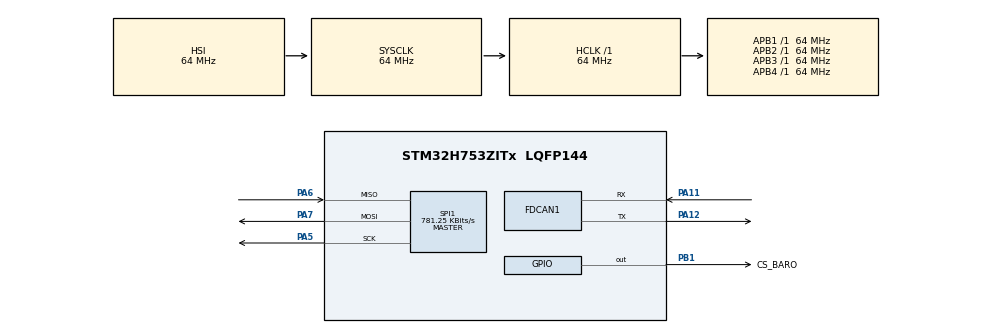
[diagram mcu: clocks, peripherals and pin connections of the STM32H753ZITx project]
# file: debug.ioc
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CORTEX_M7.CPU_DCache=Disabled
CORTEX_M7.CPU_ICache=Disabled
CORTEX_M7.MPU_Control=__NULL
CORTEX_M7.default_mode_Activation=1
FDCAN1.CalculateBaudRateNominal=195312
FDCAN1.CalculateTimeBitNominal=5120
FDCAN1.CalculateTimeQuantumNominal=320.0
FDCAN1.DataTimeSeg1=1
FDCAN1.DataTimeSeg2=1
FDCAN1.Mode=FDCAN_MODE_NORMAL
FDCAN1.NominalTimeSeg1=13
FDCAN1.NominalTimeSeg2=2
FDCAN1.RxFifo0ElmtsNbr=8
FDCAN1.StdFiltersNbr=1
FDCAN1.TxBuffersNbr=0
FDCAN1.TxFifoQueueElmtsNbr=8
FREERTOS.Tasks01=Task1,24,128,StartTask1,Default,NULL,Dynamic,NULL,NULL;Task2,8,128,StartTask2,Default,NULL,Dynamic,NULL,NULL;CanRxTask,8,128,StartCanRxTask,Default,NULL,Dynamic,NULL,NULL;CanTxTask,8,128,StartCanTxTask,Default,NULL,Dynamic,NULL,NULL
Mcu.Family=STM32H7
Mcu.Name=STM32H753ZITx
Mcu.Package=LQFP144
NUCLEO-H753ZI.BUTTON=1
NUCLEO-H753ZI.LD1=true
NUCLEO-H753ZI.LD2=true
NUCLEO-H753ZI.LD3=true
NUCLEO-H753ZI.VCP=true
NVIC.EXTI15_10_IRQn=true\:5\:0\:false\:false\:true\:true\:false\:true\:true
NVIC.PriorityGroup=NVIC_PRIORITYGROUP_4
NVIC.TIM6_DAC_IRQn=true\:15\:0\:false\:false\:true\:false\:false\:true\:true
NVIC.TimeBase=TIM6_DAC_IRQn
NVIC.TimeBaseIP=TIM6
PA11.Mode=FDCAN_Activate
PA11.Signal=FDCAN1_RX
PA12.Mode=FDCAN_Activate
PA12.Signal=FDCAN1_TX
PA13\ (JTMS/SWDIO).Mode=Trace_Asynchronous_SW
PA13\ (JTMS/SWDIO).Signal=DEBUG_JTMS-SWDIO
PA14\ (JTCK/SWCLK).Mode=Trace_Asynchronous_SW
PA14\ (JTCK/SWCLK).Signal=DEBUG_JTCK-SWCLK
PA5.Mode=Full_Duplex_Master
PA5.Signal=SPI1_SCK
PA6.Mode=Full_Duplex_Master
PA6.Signal=SPI1_MISO
PA7.Mode=Full_Duplex_Master
PA7.Signal=SPI1_MOSI
PB1.GPIO_Label=CS_BARO
PB1.GPIO_PuPd=GPIO_PULLUP
PB1.GPIO_Speed=GPIO_SPEED_FREQ_HIGH
PB1.PinState=GPIO_PIN_SET
PB1.Signal=GPIO_Output
PB3\ (JTDO/TRACESWO).Mode=Trace_Asynchronous_SW
PB3\ (JTDO/TRACESWO).Signal=DEBUG_JTDO-SWO
PC14-OSC32_IN\ (OSC32_IN).Signal=RCC_OSC32_IN
PC15-OSC32_OUT\ (OSC32_OUT).Signal=RCC_OSC32_OUT
PD8.Signal=USART3_TX
PD9.Signal=USART3_RX
PH0-OSC_IN\ (PH0).Signal=RCC_OSC_IN
PH1-OSC_OUT\ (PH1).Signal=RCC_OSC_OUT
ProjectManager.HeapSize=0x200
ProjectManager.StackSize=0x400
ProjectManager.TargetToolchain=STM32CubeIDE
RCC.ADCFreq_Value=129000000
RCC.APB1Freq_Value=64000000
RCC.APB2Freq_Value=64000000
RCC.APB3Freq_Value=64000000
RCC.APB4Freq_Value=64000000
RCC.CortexFreq_Value=64000000
RCC.DIVM1=4
RCC.DIVN1=9
RCC.DIVQ1=3
RCC.HCLKFreq_Value=64000000
RCC.HSE_VALUE=8000000
RCC.PLL2FRACN=0
RCC.PLL3FRACN=0
RCC.PLLFRACN=3072
RCC.SYSCLKFreq_VALUE=64000000
RCC.USBFreq_Value=50000000
SPI1.BaudRatePrescaler=SPI_BAUDRATEPRESCALER_64
SPI1.CalculateBaudRate=781.25 KBits/s
SPI1.DataSize=SPI_DATASIZE_8BIT
SPI1.Direction=SPI_DIRECTION_2LINES
SPI1.Mode=SPI_MODE_MASTER
SPI1.NSSPMode=SPI_NSS_PULSE_DISABLE
SPI1.VirtualType=VM_MASTER
VP_FREERTOS_VS_CMSIS_V2.Mode=CMSIS_V2
VP_MEMORYMAP_VS_MEMORYMAP.Mode=CurAppReg
VP_NUCLEO-H753ZI_VS_BSP_COMMON.Mode=COMMON
VP_SYS_VS_tim6.Mode=TIM6
board=NUCLEO-H753ZI

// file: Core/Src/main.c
/* USER CODE BEGIN Header */
/**
  ******************************************************************************
  * @file           : main.c
  * @brief          : Main program body
  ******************************************************************************
  * @attention
  *
  * Copyright (c) 2026 STMicroelectronics.
  * All rights reserved.
  *
  * This software is licensed under terms that can be found in the LICENSE file
  * in the root directory of this software component.
  * If no LICENSE file comes with this software, it is provided AS-IS.
  *
  ******************************************************************************
  */
/* USER CODE END Header */
#include "main.h"
#include "cmsis_os.h"

/* USER CODE BEGIN Includes */
#include <stdio.h>
#include <stdlib.h>
#include <string.h>
#include "MS5611_driver.h"

#ifndef CANRX_DEBUG
#define CANRX_DEBUG 1
#endif

#if CANRX_DEBUG
#define CANRX_LOG(fmt, ...)  printf("[CANRX] " fmt "\r\n", ##__VA_ARGS__)
#else
#define CANRX_LOG(...)       do {} while (0)
#endif
/* USER CODE END Includes */

/* USER CODE BEGIN PTD */
extern FDCAN_HandleTypeDef hfdcan1;

#define CANRX_FLAG_FIFO0_PENDING   (1UL << 0)
#define CANRX_MATCH_STD_ID         (0x103U)
#define CANRX_MATCH_B0             (50U)
#define CANRX_MATCH_B1             (0xAAU)
#define TEST_STD_ID                (0x123U)

extern osThreadId_t CanRxTaskHandle;
static FDCAN_RxHeaderTypeDef g_rxHeader;
static uint8_t g_rxData[8];
static volatile uint32_t g_validFrameCount = 0U;

static void CAN_RxAppInit(void)
{
    FDCAN_FilterTypeDef sFilter = {0};

    /* Accept all standard IDs into FIFO0 (mask=0 => don't care). */
    sFilter.IdType       = FDCAN_STANDARD_ID;
    sFilter.FilterIndex  = 0;
    sFilter.FilterType   = FDCAN_FILTER_MASK;
    sFilter.FilterConfig = FDCAN_FILTER_TO_RXFIFO0;
    sFilter.FilterID1    = 0x000;
    sFilter.FilterID2    = 0x000;

    if (HAL_FDCAN_ConfigFilter(&hfdcan1, &sFilter) != HAL_OK) {
        CANRX_LOG("ConfigFilter failed");
        Error_Handler();
    }

    /* Route non-matching std/ext IDs to FIFO0 too; reject remote frames. */
    if (HAL_FDCAN_ConfigGlobalFilter(&hfdcan1,
                                    FDCAN_ACCEPT_IN_RX_FIFO0, FDCAN_ACCEPT_IN_RX_FIFO0,
                                    FDCAN_REJECT_REMOTE, FDCAN_REJECT_REMOTE) != HAL_OK) {
        CANRX_LOG("GlobalFilter failed");
        Error_Handler();
    }

    /*
     * Enable notification before Start so the first received frame after Start
     * cannot be missed in the small timing window.
     */
    if (HAL_FDCAN_ActivateNotification(&hfdcan1,
                                       FDCAN_IT_RX_FIFO0_NEW_MESSAGE,
                                       0) != HAL_OK) {
        CANRX_LOG("ActivateNotification failed");
        Error_Handler();
    }

    if (HAL_FDCAN_Start(&hfdcan1) != HAL_OK) {
        CANRX_LOG("Start failed");
        Error_Handler();
    }

    CANRX_LOG("FDCAN1 started, FIFO0 IRQ enabled");
}

void HAL_FDCAN_RxFifo0Callback(FDCAN_HandleTypeDef *hfdcan, uint32_t RxFifo0ITs)
{
    if ((hfdcan->Instance == FDCAN1) &&
        ((RxFifo0ITs & FDCAN_IT_RX_FIFO0_NEW_MESSAGE) != 0U) &&
        (CanRxTaskHandle != NULL))
    {
        (void)osThreadFlagsSet(CanRxTaskHandle, CANRX_FLAG_FIFO0_PENDING);
    }
}
#define CAN_APP_ID     (0x123)

#define CAN_SOF        (0x01)  // start-of-frame
#define CAN_COF        (0x02)  // continuation
#define CAN_MAX_MSG    200     // max reassembled length (adjust)

typedef struct {
  uint8_t len;
  char    msg[CAN_MAX_MSG];
} CanAppMsg_t;

static osMessageQueueId_t canTxQueue;
extern CAN_HandleTypeDef hcan1;

#define CANRX_FLAG_FIFO0_PENDING   (1UL << 0)

static CAN_RxHeaderTypeDef g_rxHeader;
static uint8_t g_rxData[8];
static volatile uint32_t g_validFrameCount = 0;

osThreadId_t CanRxTaskHandle = NULL;

/* ===== CAN app init ===== */
static void CAN_RxAppInit(void)
{
  CAN_FilterTypeDef f = {0};

  f.FilterBank = 0;
  f.FilterMode = CAN_FILTERMODE_IDMASK;
  f.FilterScale = CAN_FILTERSCALE_32BIT;
  f.FilterIdHigh = 0x0000;
  f.FilterIdLow = 0x0000;
  f.FilterMaskIdHigh = 0x0000;
  f.FilterMaskIdLow = 0x0000;
  f.FilterFIFOAssignment = CAN_FILTER_FIFO0;
  f.FilterActivation = ENABLE;

#if defined(CAN2)
  f.SlaveStartFilterBank = 14;
#endif

  if (HAL_CAN_ConfigFilter(&hcan1, &f) != HAL_OK) Error_Handler();
  if (HAL_CAN_ActivateNotification(&hcan1, CAN_IT_RX_FIFO0_MSG_PENDING) != HAL_OK) Error_Handler();
  if (HAL_CAN_Start(&hcan1) != HAL_OK) Error_Handler();

  CANRX_LOG("CAN1 started, FIFO0 IRQ enabled");
}
/* USER CODE END PTD */

COM_InitTypeDef BspCOMInit;

FDCAN_HandleTypeDef hfdcan1;

SPI_HandleTypeDef hspi1;

/* Definitions for Task1 */
osThreadId_t Task1Handle;
const osThreadAttr_t Task1_attributes = {
  .name = "Task1",
  .stack_size = 128 * 4,
  .priority = (osPriority_t) osPriorityNormal,
};
/* Definitions for Task2 */
osThreadId_t Task2Handle;
const osThreadAttr_t Task2_attributes = {
  .name = "Task2",
  .stack_size = 128 * 4,
  .priority = (osPriority_t) osPriorityLow,
};
/* Definitions for CanRxTask */
osThreadId_t CanRxTaskHandle;
const osThreadAttr_t CanRxTask_attributes = {
  .name = "CanRxTask",
  .stack_size = 128 * 4,
  .priority = (osPriority_t) osPriorityLow,
};
/* Definitions for CanTxTask */
osThreadId_t CanTxTaskHandle;
const osThreadAttr_t CanTxTask_attributes = {
  .name = "CanTxTask",
  .stack_size = 128 * 4,
  .priority = (osPriority_t) osPriorityLow,
};

void SystemClock_Config(void);
static void MX_GPIO_Init(void);
static void MX_SPI1_Init(void);
static void MX_FDCAN1_Init(void);
void StartTask1(void *argument);
void StartTask2(void *argument);
void StartCanRxTask(void *argument);
void StartCanTxTask(void *argument);

/* USER CODE BEGIN PFP */
void MX_FREERTOS_Init(void);

/* USER CODE END PFP */

int main(void)
{

  /* MCU Configuration--------------------------------------------------------*/

  /* Reset of all peripherals, Initializes the Flash interface and the Systick. */
  HAL_Init();

  /* Configure the system clock */
  SystemClock_Config();

  /* Initialize all configured peripherals */
  MX_GPIO_Init();
  MX_SPI1_Init();
  MX_FDCAN1_Init();

  /* Init scheduler */
  osKernelInitialize();

  /* USER CODE BEGIN RTOS_MUTEX */
  /* add mutexes, ... */
  MX_FREERTOS_Init();
  /* USER CODE END RTOS_MUTEX */

  /* USER CODE BEGIN RTOS_QUEUES */
  /* add queues, ... */
  canTxQueue = osMessageQueueNew(4, sizeof(CanAppMsg_t), NULL);
  if (canTxQueue == NULL) {
    printf("[CAN] Failed to create canTxQueue\r\n");
    Error_Handler();
  }
  /* USER CODE END RTOS_QUEUES */

  /* Create the thread(s) */
  /* creation of Task1 */
  Task1Handle = osThreadNew(StartTask1, NULL, &Task1_attributes);

  /* creation of Task2 */
  Task2Handle = osThreadNew(StartTask2, NULL, &Task2_attributes);

  /* creation of CanRxTask */
  CanRxTaskHandle = osThreadNew(StartCanRxTask, NULL, &CanRxTask_attributes);

  /* creation of CanTxTask */
  CanTxTaskHandle = osThreadNew(StartCanTxTask, NULL, &CanTxTask_attributes);

  /* Initialize leds */
  BSP_LED_Init(LED_GREEN);
  BSP_LED_Init(LED_BLUE);
  BSP_LED_Init(LED_RED);

  /* Initialize USER push-button, will be used to trigger an interrupt each time it's pressed.*/
  BSP_PB_Init(BUTTON_USER, BUTTON_MODE_EXTI);

  /* Initialize COM1 port (115200, 8 bits (7-bit data + 1 stop bit), no parity */
  BspCOMInit.BaudRate   = 115200;
  BspCOMInit.WordLength = COM_WORDLENGTH_8B;
  BspCOMInit.StopBits   = COM_STOPBITS_1;
  BspCOMInit.Parity     = COM_PARITY_NONE;
  BspCOMInit.HwFlowCtl  = COM_HWCONTROL_NONE;
  if (BSP_COM_Init(COM1, &BspCOMInit) != BSP_ERROR_NONE)
  {
    Error_Handler();
  }

  /* Start scheduler */
  osKernelStart();

  /* We should never get here as control is now taken by the scheduler */

  /* Infinite loop */
  while (1)
  {

  }
}

void SystemClock_Config(void)
{
  RCC_OscInitTypeDef RCC_OscInitStruct = {0};
  RCC_ClkInitTypeDef RCC_ClkInitStruct = {0};

  /** Supply configuration update enable
  */
  HAL_PWREx_ConfigSupply(PWR_LDO_SUPPLY);

  /** Configure the main internal regulator output voltage
  */
  __HAL_PWR_VOLTAGESCALING_CONFIG(PWR_REGULATOR_VOLTAGE_SCALE3);

  while(!__HAL_PWR_GET_FLAG(PWR_FLAG_VOSRDY)) {}

  /** Initializes the RCC Oscillators according to the specified parameters
  * in the RCC_OscInitTypeDef structure.
  */
  RCC_OscInitStruct.OscillatorType = RCC_OSCILLATORTYPE_HSI;
  RCC_OscInitStruct.HSIState = RCC_HSI_DIV1;
  RCC_OscInitStruct.HSICalibrationValue = RCC_HSICALIBRATION_DEFAULT;
  RCC_OscInitStruct.PLL.PLLState = RCC_PLL_ON;
  RCC_OscInitStruct.PLL.PLLSource = RCC_PLLSOURCE_HSI;
  RCC_OscInitStruct.PLL.PLLM = 4;
  RCC_OscInitStruct.PLL.PLLN = 9;
  RCC_OscInitStruct.PLL.PLLP = 2;
  RCC_OscInitStruct.PLL.PLLQ = 3;
  RCC_OscInitStruct.PLL.PLLR = 2;
  RCC_OscInitStruct.PLL.PLLRGE = RCC_PLL1VCIRANGE_3;
  RCC_OscInitStruct.PLL.PLLVCOSEL = RCC_PLL1VCOMEDIUM;
  RCC_OscInitStruct.PLL.PLLFRACN = 3072;
  if (HAL_RCC_OscConfig(&RCC_OscInitStruct) != HAL_OK)
  {
    Error_Handler();
  }

  /** Initializes the CPU, AHB and APB buses clocks
  */
  RCC_ClkInitStruct.ClockType = RCC_CLOCKTYPE_HCLK|RCC_CLOCKTYPE_SYSCLK
                              |RCC_CLOCKTYPE_PCLK1|RCC_CLOCKTYPE_PCLK2
                              |RCC_CLOCKTYPE_D3PCLK1|RCC_CLOCKTYPE_D1PCLK1;
  RCC_ClkInitStruct.SYSCLKSource = RCC_SYSCLKSOURCE_HSI;
  RCC_ClkInitStruct.SYSCLKDivider = RCC_SYSCLK_DIV1;
  RCC_ClkInitStruct.AHBCLKDivider = RCC_HCLK_DIV1;
  RCC_ClkInitStruct.APB3CLKDivider = RCC_APB3_DIV1;
  RCC_ClkInitStruct.APB1CLKDivider = RCC_APB1_DIV1;
  RCC_ClkInitStruct.APB2CLKDivider = RCC_APB2_DIV1;
  RCC_ClkInitStruct.APB4CLKDivider = RCC_APB4_DIV1;

  if (HAL_RCC_ClockConfig(&RCC_ClkInitStruct, FLASH_LATENCY_1) != HAL_OK)
  {
    Error_Handler();
  }
}

static void MX_FDCAN1_Init(void)
{

  hfdcan1.Instance = FDCAN1;
  hfdcan1.Init.FrameFormat = FDCAN_FRAME_CLASSIC;
  hfdcan1.Init.Mode = FDCAN_MODE_NORMAL;
  hfdcan1.Init.AutoRetransmission = DISABLE;
  hfdcan1.Init.TransmitPause = DISABLE;
  hfdcan1.Init.ProtocolException = DISABLE;
  hfdcan1.Init.NominalPrescaler = 16;
  hfdcan1.Init.NominalSyncJumpWidth = 1;
  hfdcan1.Init.NominalTimeSeg1 = 13;
  hfdcan1.Init.NominalTimeSeg2 = 2;
  hfdcan1.Init.DataPrescaler = 1;
  hfdcan1.Init.DataSyncJumpWidth = 1;
  hfdcan1.Init.DataTimeSeg1 = 1;
  hfdcan1.Init.DataTimeSeg2 = 1;
  hfdcan1.Init.MessageRAMOffset = 0;
  hfdcan1.Init.StdFiltersNbr = 1;
  hfdcan1.Init.ExtFiltersNbr = 0;
  hfdcan1.Init.RxFifo0ElmtsNbr = 8;
  hfdcan1.Init.RxFifo0ElmtSize = FDCAN_DATA_BYTES_8;
  hfdcan1.Init.RxFifo1ElmtsNbr = 0;
  hfdcan1.Init.RxFifo1ElmtSize = FDCAN_DATA_BYTES_8;
  hfdcan1.Init.RxBuffersNbr = 0;
  hfdcan1.Init.RxBufferSize = FDCAN_DATA_BYTES_8;
  hfdcan1.Init.TxEventsNbr = 0;
  hfdcan1.Init.TxBuffersNbr = 0;
  hfdcan1.Init.TxFifoQueueElmtsNbr = 8;
  hfdcan1.Init.TxFifoQueueMode = FDCAN_TX_FIFO_OPERATION;
  hfdcan1.Init.TxElmtSize = FDCAN_DATA_BYTES_8;
  if (HAL_FDCAN_Init(&hfdcan1) != HAL_OK)
  {
    Error_Handler();
  }

}

static void MX_SPI1_Init(void)
{

  /* SPI1 parameter configuration*/
  hspi1.Instance = SPI1;
  hspi1.Init.Mode = SPI_MODE_MASTER;
  hspi1.Init.Direction = SPI_DIRECTION_2LINES;
  hspi1.Init.DataSize = SPI_DATASIZE_8BIT;
  hspi1.Init.CLKPolarity = SPI_POLARITY_LOW;
  hspi1.Init.CLKPhase = SPI_PHASE_1EDGE;
  hspi1.Init.NSS = SPI_NSS_SOFT;
  hspi1.Init.BaudRatePrescaler = SPI_BAUDRATEPRESCALER_64;
  hspi1.Init.FirstBit = SPI_FIRSTBIT_MSB;
  hspi1.Init.TIMode = SPI_TIMODE_DISABLE;
  hspi1.Init.CRCCalculation = SPI_CRCCALCULATION_DISABLE;
  hspi1.Init.CRCPolynomial = 0x0;
  hspi1.Init.NSSPMode = SPI_NSS_PULSE_DISABLE;
  hspi1.Init.NSSPolarity = SPI_NSS_POLARITY_LOW;
  hspi1.Init.FifoThreshold = SPI_FIFO_THRESHOLD_01DATA;
  hspi1.Init.TxCRCInitializationPattern = SPI_CRC_INITIALIZATION_ALL_ZERO_PATTERN;
  hspi1.Init.RxCRCInitializationPattern = SPI_CRC_INITIALIZATION_ALL_ZERO_PATTERN;
  hspi1.Init.MasterSSIdleness = SPI_MASTER_SS_IDLENESS_00CYCLE;
  hspi1.Init.MasterInterDataIdleness = SPI_MASTER_INTERDATA_IDLENESS_00CYCLE;
  hspi1.Init.MasterReceiverAutoSusp = SPI_MASTER_RX_AUTOSUSP_DISABLE;
  hspi1.Init.MasterKeepIOState = SPI_MASTER_KEEP_IO_STATE_DISABLE;
  hspi1.Init.IOSwap = SPI_IO_SWAP_DISABLE;
  if (HAL_SPI_Init(&hspi1) != HAL_OK)
  {
    Error_Handler();
  }

}

static void MX_GPIO_Init(void)
{
  GPIO_InitTypeDef GPIO_InitStruct = {0};

  /* GPIO Ports Clock Enable */
  __HAL_RCC_GPIOC_CLK_ENABLE();
  __HAL_RCC_GPIOH_CLK_ENABLE();
  __HAL_RCC_GPIOA_CLK_ENABLE();
  __HAL_RCC_GPIOB_CLK_ENABLE();

  /*Configure GPIO pin Output Level */
  HAL_GPIO_WritePin(CS_BARO_GPIO_Port, CS_BARO_Pin, GPIO_PIN_SET);

  /*Configure GPIO pin : CS_BARO_Pin */
  GPIO_InitStruct.Pin = CS_BARO_Pin;
  GPIO_InitStruct.Mode = GPIO_MODE_OUTPUT_PP;
  GPIO_InitStruct.Pull = GPIO_PULLUP;
  GPIO_InitStruct.Speed = GPIO_SPEED_FREQ_HIGH;
  HAL_GPIO_Init(CS_BARO_GPIO_Port, &GPIO_InitStruct);

  /* USER CODE BEGIN MX_GPIO_Init_2 */
  /* PB7 used as RX match indicator LED pulse output. */
  HAL_GPIO_WritePin(GPIOB, GPIO_PIN_7, GPIO_PIN_RESET);
  GPIO_InitStruct.Pin = GPIO_PIN_7;
  GPIO_InitStruct.Mode = GPIO_MODE_OUTPUT_PP;
  GPIO_InitStruct.Pull = GPIO_NOPULL;
  GPIO_InitStruct.Speed = GPIO_SPEED_FREQ_LOW;
  HAL_GPIO_Init(GPIOB, &GPIO_InitStruct);

  /* USER CODE END MX_GPIO_Init_2 */
}

void StartTask1(void *argument)
{
  /* USER CODE BEGIN 5 */
  M5611_data baro_data;

  (void)MS5611_init(&hspi1);

  /* Infinite loop */
  for(;;)
  {
    if (MS5611_get_data(&baro_data) == 0U) {
      /* TODO: store/publish baro_data */
      printf("Task-1 Temp: %ld.%02ld C, Pressure: %ld Pa\r\n",
       baro_data.temp/100, labs(baro_data.temp%100), baro_data.pressure);
    }
    osDelay(10000);
  }
  /* USER CODE END 5 */
}

void StartTask2(void *argument)
{
  /* USER CODE BEGIN StartTask2 */
  /* Infinite loop */
  for(;;)
  {
    osDelay(1000);
  }
  /* USER CODE END StartTask2 */
}

void StartCanRxTask(void *argument)
{
  /* USER CODE BEGIN StartCanRxTask */
	(void)argument;

	  CAN_RxAppInit();

	  for (;;)
	  {
		uint32_t flags = osThreadFlagsWait(CANRX_FLAG_FIFO0_PENDING,
										   osFlagsWaitAny,
										   osWaitForever);
		if ((flags & osFlagsError) != 0U) {
		  continue;
		}

		while (HAL_CAN_GetRxFifoFillLevel(&hcan1, CAN_RX_FIFO0) > 0U)
		{
		  if (HAL_CAN_GetRxMessage(&hcan1, CAN_RX_FIFO0, &g_rxHeader, g_rxData) != HAL_OK) {
			break;
		  }

		  if ((g_rxHeader.IDE == CAN_ID_STD) &&
			  (g_rxHeader.StdId == 0x103U) &&
			  (g_rxHeader.DLC >= 2U) &&
			  (g_rxData[0] == 50U) &&
			  (g_rxData[1] == 0xAAU))
		  {
			g_validFrameCount++;
			CANRX_LOG("valid frame ID=0x%03lX D0=0x%02X D1=0x%02X",
					  (unsigned long)g_rxHeader.StdId, g_rxData[0], g_rxData[1]);

			HAL_GPIO_WritePin(GPIOB, GPIO_PIN_7, GPIO_PIN_SET);
			osDelay(100U);
			HAL_GPIO_WritePin(GPIOB, GPIO_PIN_7, GPIO_PIN_RESET);
		  }
		}
	  }
  /* USER CODE END StartCanRxTask */
}

void StartCanTxTask(void *argument)
{
  /* USER CODE BEGIN StartCanTxTask */
  /* Infinite loop */
  // Make sure CAN_RxAppInit() has been called by some task (RX task usually).
  // If not, you can call it here once, but don't call it from both tasks.
  osDelay(300); // let RX task start/ init CAN first

  FDCAN_TxHeaderTypeDef txHeader = {0};
  uint8_t data[8] = {0};

  // --- Configure TX header (Classic CAN, Standard ID) ---
  txHeader.IdType              = FDCAN_STANDARD_ID;
  txHeader.Identifier          = TEST_STD_ID;          // 0x123
  txHeader.TxFrameType         = FDCAN_DATA_FRAME;
  txHeader.DataLength          = FDCAN_DLC_BYTES_5;    // 5 bytes payload
  txHeader.ErrorStateIndicator = FDCAN_ESI_ACTIVE;
  txHeader.BitRateSwitch       = FDCAN_BRS_OFF;        // Classic CAN
  txHeader.FDFormat            = FDCAN_CLASSIC_CAN;    // must match Classic mode
  txHeader.TxEventFifoControl  = FDCAN_NO_TX_EVENTS;
  txHeader.MessageMarker       = 0;

  printf("[CAN TX] Ready. Sending every 1s (ID=0x%03X)\r\n", (unsigned)TEST_STD_ID);

  for (;;)
  {
	// Put your message in data
	memset(data, 0, sizeof(data));
	memcpy(data, "HELLO", 5);

	// Wait for free space in Tx FIFO/Queue
	while (HAL_FDCAN_GetTxFifoFreeLevel(&hfdcan1) == 0)
	{
	  osDelay(1);
	}

	// Queue the frame
	if (HAL_FDCAN_AddMessageToTxFifoQ(&hfdcan1, &txHeader, data) == HAL_OK)
	{
	  printf("[CAN TX] Sent ID=0x%03X Data=\"%c%c%c%c%c\"\r\n",
			 (unsigned)TEST_STD_ID,
			 data[0], data[1], data[2], data[3], data[4]);
	}
	else
	{
	  // If this triggers, it's usually bitrate mismatch / bus not ACKing / not started
	  printf("[CAN TX] AddMessageToTxFifoQ FAILED\r\n");
	}

	osDelay(1000);
  }
  /* USER CODE END StartCanTxTask */
}

void HAL_TIM_PeriodElapsedCallback(TIM_HandleTypeDef *htim)
{
  if (htim->Instance == TIM6)
  {
    HAL_IncTick();
  }
}

void Error_Handler(void)
{
  __disable_irq();
  while (1)
  {
  }
}

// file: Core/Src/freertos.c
/* USER CODE BEGIN Header */
/**
  ******************************************************************************
  * File Name          : freertos.c
  * Description        : Code for freertos applications
  ******************************************************************************
  * @attention
  *
  * Copyright (c) 2026 STMicroelectronics.
  * All rights reserved.
  *
  * This software is licensed under terms that can be found in the LICENSE file
  * in the root directory of this software component.
  * If no LICENSE file comes with this software, it is provided AS-IS.
  *
  ******************************************************************************
  */
/* USER CODE END Header */

#include "FreeRTOS.h"
#include "task.h"
#include "main.h"

/* USER CODE BEGIN Includes */
#include "cmsis_os.h"

/* USER CODE END Includes */

/* USER CODE BEGIN Variables */
osMutexId_t spi1MutexHandle;

/* USER CODE END Variables */

/* USER CODE BEGIN FunctionPrototypes */
void MX_FREERTOS_Init(void);

/* USER CODE END FunctionPrototypes */

/* USER CODE BEGIN Application */
void MX_FREERTOS_Init(void)
{
  const osMutexAttr_t spi1Mutex_attributes = {
    .name = "spi1Mutex"
  };

  spi1MutexHandle = osMutexNew(&spi1Mutex_attributes);
}

/* USER CODE END Application */
